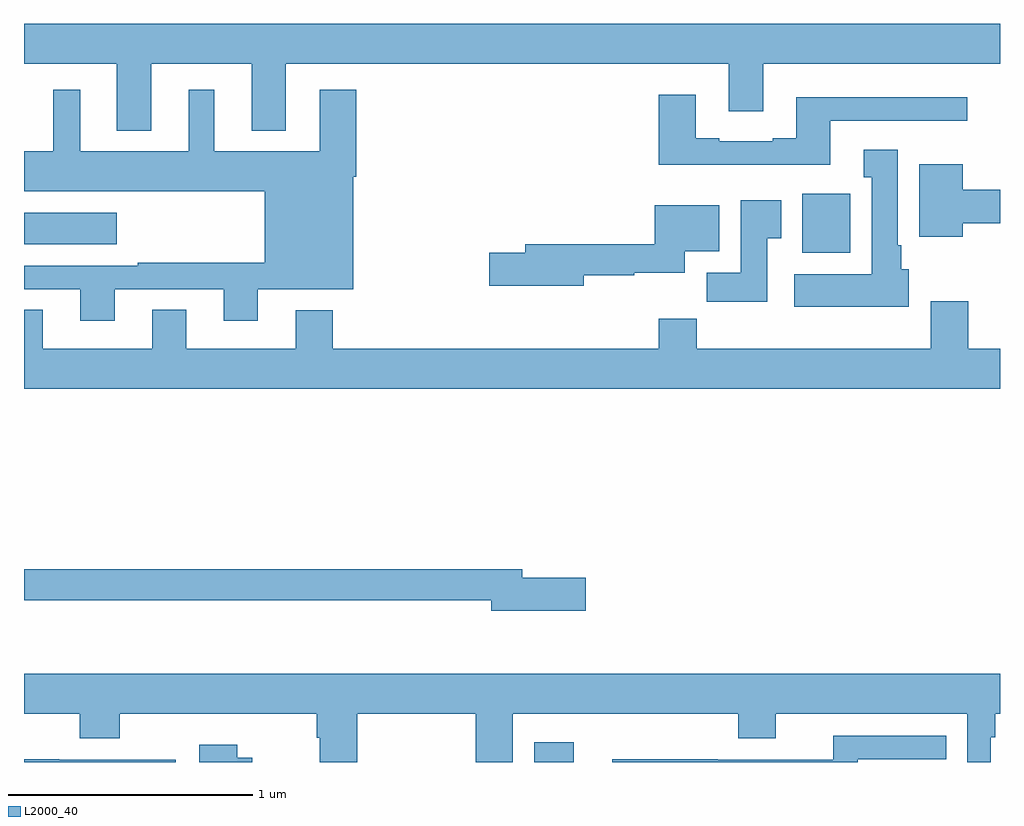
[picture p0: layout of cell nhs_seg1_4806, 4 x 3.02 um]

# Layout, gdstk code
import gdstk
lib = gdstk.Library(unit=1e-6, precision=1e-09)
def R(c, l, rs):  # rectangles x0, y0, x1, y1
    for r in rs: c.add(gdstk.rectangle(r[:2], r[2:], *l))
def P(c, l, *ps):  # polygons
    for p in ps: c.add(gdstk.Polygon(p, *l))
L2000_40 = (2000, 40)

nhs_seg1_4806 = lib.new_cell('nhs_seg1_4806')
R(nhs_seg1_4806, L2000_40, [(373.092,554.199,373.253,554.281), (374.189,556.286,374.386,556.528), (371,556.322,371.38,556.45)])
P(nhs_seg1_4806, L2000_40, [(371.521,557.06),(371.933,557.06),(371.933,556.787),(372.073,556.787),(372.073,557.06),(373.889,557.06),(373.889,556.866),(374.029,556.866),(374.029,557.06),(375,557.06),(375,557.224),(371,557.224),(371,557.06),(371.381,557.06),(371.381,556.787),(371.521,556.787)],
  [(371.371,556.137),(371.819,556.137),(371.819,556.008),(371.959,556.008),(371.959,556.136),(372.349,556.136),(372.349,556.598),(372.362,556.598),(372.362,556.954),(372.212,556.954),(372.212,556.702),(371.779,556.702),(371.779,556.954),(371.675,556.954),(371.675,556.702),(371.23,556.702),(371.23,556.954),(371.12,556.954),(371.12,556.702),(371,556.702),(371,556.538),(371.987,556.538),(371.987,556.246),(371.467,556.246),(371.467,556.233),(371,556.233),(371,556.137),(371.231,556.137),(371.231,556.008),(371.371,556.008)],
  [(374.305,556.827),(374.866,556.827),(374.866,556.924),(374.165,556.924),(374.165,556.756),(374.069,556.756),(374.069,556.743),(373.849,556.743),(373.849,556.756),(373.753,556.756),(373.753,556.933),(373.601,556.933),(373.601,556.646),(374.305,556.646)],
  [(374.626,556.218),(374.596,556.218),(374.596,556.318),(374.581,556.318),(374.581,556.708),(374.441,556.708),(374.441,556.595),(374.474,556.595),(374.474,556.198),(374.157,556.198),(374.157,556.064),(374.626,556.064)],
  [(374.848,556.408),(375,556.408),(375,556.544),(374.848,556.544),(374.848,556.648),(374.669,556.648),(374.669,556.352),(374.848,556.352)],
  [(374.047,556.345),(374.104,556.345),(374.104,556.501),(373.937,556.501),(373.937,556.204),(373.798,556.204),(373.798,556.086),(374.047,556.086)],
  [(373.294,556.194),(373.502,556.194),(373.502,556.205),(373.708,556.205),(373.708,556.292),(373.849,556.292),(373.849,556.48),(373.586,556.48),(373.586,556.322),(373.055,556.322),(373.055,556.286),(372.906,556.286),(372.906,556.151),(373.294,556.151)],
  [(375,555.892),(374.87,555.892),(374.87,556.087),(374.717,556.087),(374.717,555.892),(373.757,555.892),(373.757,556.016),(373.601,556.016),(373.601,555.892),(372.266,555.892),(372.266,556.051),(372.113,556.051),(372.113,555.892),(371.665,555.892),(371.665,556.052),(371.525,556.052),(371.525,555.892),(371.077,555.892),(371.077,556.052),(371,556.052),(371,555.728),(375,555.728)],
  [(373.303,554.954),(373.042,554.954),(373.042,554.99),(371,554.99),(371,554.862),(372.914,554.862),(372.914,554.819),(373.303,554.819)],
  [(371,554.396),(371.228,554.396),(371.228,554.297),(371.393,554.297),(371.393,554.396),(372.2,554.396),(372.2,554.298),(372.212,554.298),(372.212,554.199),(372.365,554.199),(372.365,554.396),(372.851,554.396),(372.851,554.199),(373.003,554.199),(373.003,554.396),(373.928,554.396),(373.928,554.297),(374.08,554.297),(374.08,554.396),(374.865,554.396),(374.865,554.199),(374.962,554.199),(374.962,554.3),(374.981,554.3),(374.981,554.396),(375,554.396),(375,554.56),(371,554.56)],
  [(374.416,554.211),(374.78,554.211),(374.78,554.307),(374.317,554.307),(374.317,554.208),(373.844,554.208),(373.844,554.21),(373.41,554.21),(373.41,554.199),(374.416,554.199)],
  [(371.936,554.217),(371.874,554.217),(371.874,554.269),(371.718,554.269),(371.718,554.199),(371.936,554.199)],
  [(371.622,554.208),(371.144,554.208),(371.144,554.21),(371,554.21),(371,554.199),(371.622,554.199)])

lib.write_gds('nhs_seg1_4806.gds')
